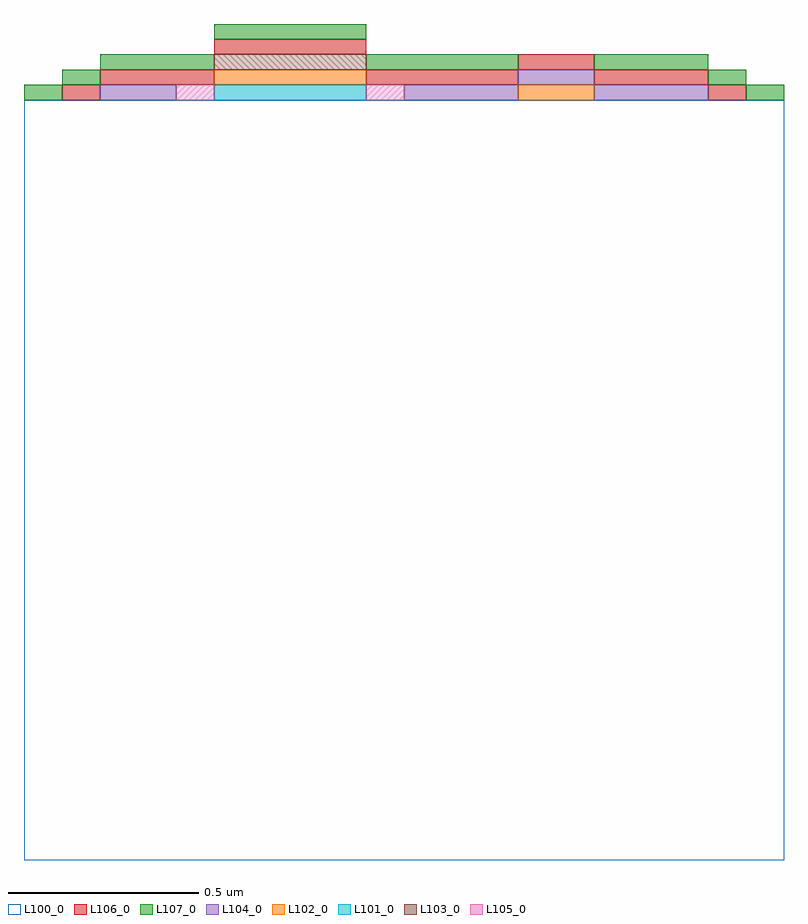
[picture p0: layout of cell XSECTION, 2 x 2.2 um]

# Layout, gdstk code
import gdstk
lib = gdstk.Library(unit=1e-6, precision=1e-09)
def R(c, l, rs):  # rectangles x0, y0, x1, y1
    for r in rs: c.add(gdstk.rectangle(r[:2], r[2:], *l))
L100_0 = (100, 0)
L101_0 = (101, 0)
L102_0 = (102, 0)
L103_0 = (103, 0)
L104_0 = (104, 0)
L105_0 = (105, 0)
L106_0 = (106, 0)
L107_0 = (107, 0)

xsection = lib.new_cell('XSECTION')
R(xsection, L100_0, [(0,-2,2,0)])
R(xsection, L101_0, [(0.5,0,0.9,0.04)])
R(xsection, L102_0, [(1.3,0,1.5,0.04), (0.5,0.04,0.9,0.08)])
R(xsection, L103_0, [(0.5,0.08,0.9,0.12)])
R(xsection, L104_0, [(0.2,0,0.4,0.04), (1,0,1.3,0.04), (1.5,0,1.8,0.04), (1.3,0.04,1.5,0.08)])
R(xsection, L105_0, [(0.4,0,0.5,0.04), (0.9,0,1,0.04)])
R(xsection, L106_0, [(0.1,0,0.2,0.04), (1.8,0,1.9,0.04), (0.2,0.04,0.5,0.08), (0.9,0.04,1.3,0.08), (1.5,0.04,1.8,0.08), (1.3,0.08,1.5,0.12), (0.5,0.12,0.9,0.16)])
R(xsection, L107_0, [(0,0,0.1,0.04), (1.9,0,2,0.04), (0.1,0.04,0.2,0.08), (1.8,0.04,1.9,0.08), (0.2,0.08,0.5,0.12), (0.9,0.08,1.3,0.12), (1.5,0.08,1.8,0.12), (0.5,0.16,0.9,0.2)])

lib.write_gds('XSECTION.gds')
